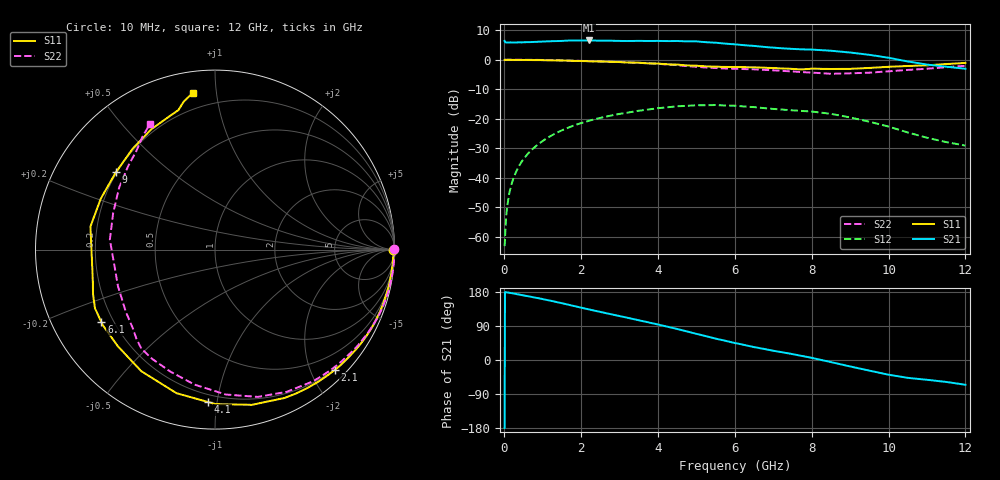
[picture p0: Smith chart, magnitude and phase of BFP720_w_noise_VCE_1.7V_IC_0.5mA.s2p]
! Infineon Technologies  Discrete & RF Semiconductors
! BFP720
! VCE =  1.7 V,  IC =  0.5 mA
! Common Emitter S-Parameters:  Aug 2012
# GHz  S  MA  R  50
!  f  S11  S21  S12  S22
! GHz  MAG  ANG  MAG  ANG  MAG  ANG  MAG  ANG
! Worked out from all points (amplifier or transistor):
!   105 points, 10 MHz to 12 GHz, reference 50 ohm
!   highest |S21| = 6.5 dB at 2.2 GHz (marker M1)
!   |S21| within 3 dB of that: start of sweep to 7.747 GHz
!   unconditionally stable (mu >= 1): 8.88 GHz to end of sweep
!   at 300 MHz: K = 0.00, MSG = 22.0 dB, |S12| = -38.2 dB
!   at 3.6 GHz: K = 0.24, MSG = 11.7 dB, |S12| = -17.1 dB
!   at 12 GHz: K = 1.03, MAG = 12.0 dB, |S12| = -29.1 dB
!   lowest NFmin = 0.59 dB at 450 MHz
!   S11 on the Smith chart (normalised r, x): 10 MHz: open; 2.1 GHz: 0.19, -2.39; 4.1 GHz: 0.15, -0.94; 6.1 GHz: 0.15, -0.29; 9 GHz: 0.20, +0.33; 12 GHz: 0.11, +0.86
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0.01  0.9911 -0.1  2.082 -179.5  0.0007 -25.0  0.9971 0.1
0.02  0.9933 -0.4  1.984 179.3  0.0009 90.3  0.9998 -0.3
0.05  0.9923 -1.1  1.961 178.7  0.0022 97.0  0.9988 -0.9
0.13  0.9938 -2.5  1.958 177.5  0.0054 87.8  0.9996 -2.2
0.25  0.9929 -4.9  1.962 175.3  0.0103 86.1  0.9992 -4.1
0.45  0.9901 -8.8  1.96 171.4  0.0187 83.1  0.9973 -7.7
0.8  0.9854 -16.1  2.001 164.8  0.0335 77.2  0.9937 -13.7
1.3  0.9746 -27.1  2.064 154.3  0.0552 68.1  0.9821 -22.7
2.1  0.9455 -45.2  2.114 135.9  0.0885 52.1  0.95 -37.2
2.2  0.9419 -47.4  2.117 133.6  0.0925 50.2  0.9458 -38.9
3.5  0.8888 -76.7  2.086 104.9  0.137 24.6  0.8878 -63.2
4.1  0.8497 -92.7  2.073 91.3  0.1533 12.3  0.8429 -76.0
5  0.7923 -121.2  2.042 69.0  0.17 -7.5  0.7606 -98.7
5.5  0.7634 -135.2  1.941 56.4  0.1712 -18.7  0.7234 -110.3
6.1  0.7507 -147.5  1.796 42.8  0.1644 -31.1  0.6988 -121.1
7.5  0.7003 -166.6  1.524 15.5  0.1393 -53.6  0.6327 -136.5
8  0.7057 169.5  1.483 5.7  0.1329 -61.6  0.6055 -145.2
8.5  0.6969 156.0  1.419 -5.5  0.1214 -71.2  0.5779 -159.2
9  0.7004 142.0  1.323 -17.0  0.1056 -79.4  0.5884 174.6
10  0.7585 117.9  1.079 -38.8  0.0739 -91.0  0.6364 147.0
10.5  0.7824 109.5  0.934 -47.1  0.0588 -92.3  0.6714 136.1
12  0.881 98.1  0.703 -65.3  0.0352 -77.9  0.7884 117.4
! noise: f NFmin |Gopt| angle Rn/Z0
0.45  0.59  0.89  6  0.89
1.8  0.89  0.79  32  0.77
2.4  1.02  0.74  86  0.57
5.5  1.58  0.61  109  0.26
10  2.85  0.65  -124  0.44
